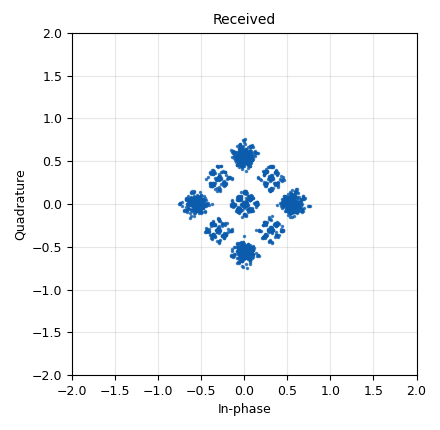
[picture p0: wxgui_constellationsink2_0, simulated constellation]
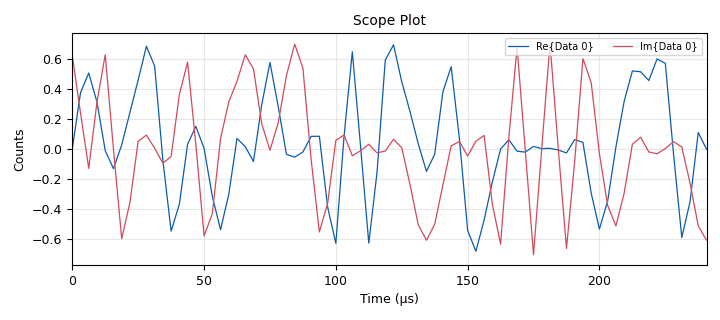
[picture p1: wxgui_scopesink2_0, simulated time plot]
<?xml version='1.0' encoding='utf-8'?>
<?grc format='1' created='3.7.11'?>
<flow_graph>
<block>
<key>options</key>
<param><key>id</key><value>qpsk_tx_uhd</value></param>
<param><key>category</key><value>Custom</value></param>
<param><key>generate_options</key><value>wx_gui</value></param>
</block>
<block>
<key>variable</key>
<param><key>id</key><value>M</value></param>
<param><key>value</key><value>4</value></param>
</block>
<block>
<key>variable</key>
<param><key>id</key><value>freq</value></param>
<param><key>value</key><value>2.421e9</value></param>
</block>
<block>
<key>variable</key>
<param><key>id</key><value>gain</value></param>
<param><key>value</key><value>30</value></param>
</block>
<block>
<key>variable</key>
<param><key>id</key><value>samp_rate</value></param>
<param><key>value</key><value>320e3</value></param>
</block>
<block>
<key>analog_random_source_x</key>
<param><key>id</key><value>analog_random_source_x_0</value></param>
<param><key>max</key><value>255</value></param>
<param><key>min</key><value>0</value></param>
<param><key>num_samps</key><value>10000000</value></param>
<param><key>type</key><value>byte</value></param>
<param><key>repeat</key><value>True</value></param>
</block>
<block>
<key>blocks_multiply_const_vxx</key>
<param><key>id</key><value>blocks_multiply_const_vxx_0</value></param>
<param><key>const</key><value>0.5</value></param>
<param><key>type</key><value>complex</value></param>
</block>
<block>
<key>digital_psk_mod</key>
<param><key>id</key><value>digital_psk_mod_0</value></param>
<param><key>differential</key><value>False</value></param>
<param><key>excess_bw</key><value>350e-3</value></param>
<param><key>mod_code</key><value>"none"</value></param>
<param><key>constellation_points</key><value>4</value></param>
<param><key>samples_per_symbol</key><value>2</value></param>
</block>
<block>
<key>osmosdr_sink</key>
<param><key>id</key><value>osmosdr_sink_0</value></param>
<param><key>bb_gain0</key><value>20</value></param>
<param><key>bw0</key><value>40e3</value></param>
<param><key>freq0</key><value>90.05e6</value></param>
<param><key>if_gain0</key><value>20</value></param>
<param><key>gain0</key><value>20</value></param>
<param><key>args</key><value></value></param>
<param><key>type</key><value>fc32</value></param>
<param><key>sample_rate</key><value>500000</value></param>
<param><key>sync</key><value></value></param>
</block>
<block>
<key>wxgui_constellationsink2</key>
<param><key>id</key><value>wxgui_constellationsink2_0</value></param>
<param><key>const_size</key><value>2048</value></param>
<param><key>frame_rate</key><value>5</value></param>
<param><key>gain_mu</key><value>0.005</value></param>
<param><key>loop_bw</key><value>6.28/100.0</value></param>
<param><key>M</key><value>M</value></param>
<param><key>fmax</key><value>0.06</value></param>
<param><key>mu</key><value>0.5</value></param>
<param><key>omega_limit</key><value>0.005</value></param>
<param><key>samp_rate</key><value>samp_rate</value></param>
<param><key>symbol_rate</key><value>samp_rate/4.</value></param>
<param><key>theta</key><value>0</value></param>
<param><key>title</key><value>Received</value></param>
</block>
<block>
<key>wxgui_scopesink2</key>
<param><key>id</key><value>wxgui_scopesink2_0</value></param>
<param><key>ac_couple</key><value>False</value></param>
<param><key>num_inputs</key><value>1</value></param>
<param><key>samp_rate</key><value>samp_rate</value></param>
<param><key>t_scale</key><value>0</value></param>
<param><key>title</key><value>Scope Plot</value></param>
<param><key>trig_mode</key><value>wxgui.TRIG_MODE_AUTO</value></param>
<param><key>type</key><value>complex</value></param>
<param><key>v_offset</key><value>0</value></param>
<param><key>v_scale</key><value>0</value></param>
<param><key>xy_mode</key><value>False</value></param>
<param><key>y_axis_label</key><value>Counts</value></param>
</block>
<connection><source_block_id>analog_random_source_x_0</source_block_id><sink_block_id>digital_psk_mod_0</sink_block_id><source_key>0</source_key><sink_key>0</sink_key></connection>
<connection><source_block_id>blocks_multiply_const_vxx_0</source_block_id><sink_block_id>osmosdr_sink_0</sink_block_id><source_key>0</source_key><sink_key>0</sink_key></connection>
<connection><source_block_id>blocks_multiply_const_vxx_0</source_block_id><sink_block_id>wxgui_constellationsink2_0</sink_block_id><source_key>0</source_key><sink_key>0</sink_key></connection>
<connection><source_block_id>blocks_multiply_const_vxx_0</source_block_id><sink_block_id>wxgui_scopesink2_0</sink_block_id><source_key>0</source_key><sink_key>0</sink_key></connection>
<connection><source_block_id>digital_psk_mod_0</source_block_id><sink_block_id>blocks_multiply_const_vxx_0</sink_block_id><source_key>0</source_key><sink_key>0</sink_key></connection>
</flow_graph>
